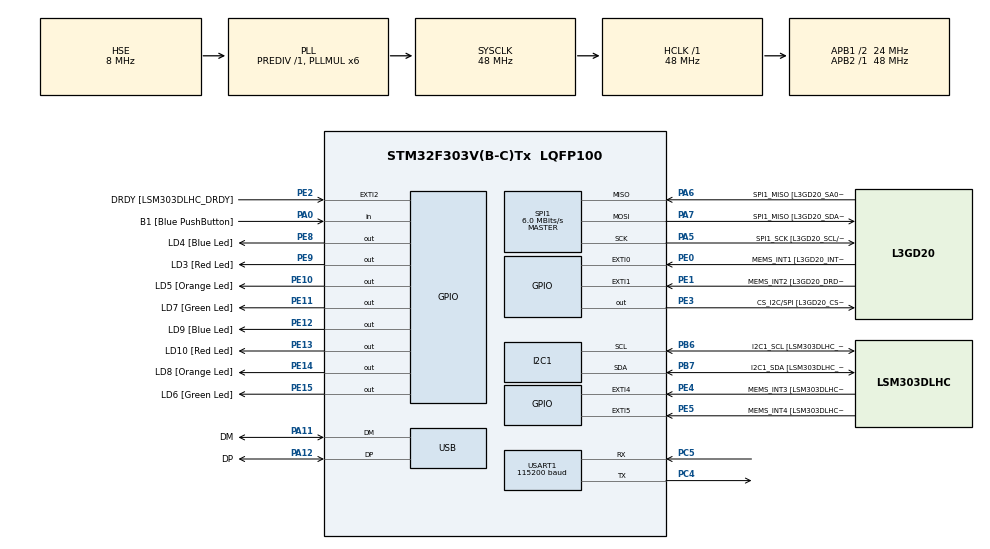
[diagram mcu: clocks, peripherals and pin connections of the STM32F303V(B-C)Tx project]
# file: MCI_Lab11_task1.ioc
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I2C1.Timing=0x00201D2B
I2C1.Timing-I2C=0x2000090E
Mcu.Family=STM32F3
Mcu.Name=STM32F303V(B-C)Tx
Mcu.Package=LQFP100
NVIC.PriorityGroup=NVIC_PRIORITYGROUP_0
PA0.GPIO_Label=B1 [Blue PushButton]
PA0.Signal=GPIO_Input
PA11.GPIO_Label=DM
PA11.Mode=Device
PA11.Signal=USB_DM
PA12.GPIO_Label=DP
PA12.Mode=Device
PA12.Signal=USB_DP
PA13.GPIO_Label=SWDIO
PA13.Mode=Serial_Wire
PA13.Signal=SYS_JTMS-SWDIO
PA14.GPIO_Label=SWCLK
PA14.Mode=Serial_Wire
PA14.Signal=SYS_JTCK-SWCLK
PA5.GPIO_Label=SPI1_SCK [L3GD20_SCL/SPC]
PA5.Mode=Full_Duplex_Master
PA5.Signal=SPI1_SCK
PA6.GPIO_Label=SPI1_MISO [L3GD20_SA0/SDO]
PA6.Mode=Full_Duplex_Master
PA6.Signal=SPI1_MISO
PA7.GPIO_Label=SPI1_MISO [L3GD20_SDA/SDI/SDO]
PA7.Mode=Full_Duplex_Master
PA7.Signal=SPI1_MOSI
PB3.GPIO_Label=SWO
PB3.Signal=SYS_JTDO-TRACESWO
PB6.GPIO_Label=I2C1_SCL [LSM303DLHC_SCL]
PB6.GPIO_Pu=GPIO_PULLUP
PB6.Mode=I2C
PB6.Signal=I2C1_SCL
PB7.GPIO_Label=I2C1_SDA [LSM303DLHC_SDA]
PB7.GPIO_Pu=GPIO_PULLUP
PB7.Mode=I2C
PB7.Signal=I2C1_SDA
PC14-OSC32_IN.GPIO_Label=OSC32_IN
PC14-OSC32_IN.Signal=RCC_OSC32_IN
PC15-OSC32_OUT.GPIO_Label=OSC32_OUT
PC15-OSC32_OUT.Signal=RCC_OSC32_OUT
PC4.Mode=Asynchronous
PC4.Signal=USART1_TX
PC5.Mode=Asynchronous
PC5.Signal=USART1_RX
PE0.GPIO_Label=MEMS_INT1 [L3GD20_INT1]
PE0.GPIO_ModeDefaultEXTI=GPIO_MODE_EVT_RISING
PE0.Signal=GPXTI0
PE1.GPIO_Label=MEMS_INT2 [L3GD20_DRDY/INT2]
PE1.GPIO_ModeDefaultEXTI=GPIO_MODE_EVT_RISING
PE1.Signal=GPXTI1
PE10.GPIO_Label=LD5 [Orange Led]
PE10.Signal=GPIO_Output
PE11.GPIO_Label=LD7 [Green Led]
PE11.Signal=GPIO_Output
PE12.GPIO_Label=LD9 [Blue Led]
PE12.Signal=GPIO_Output
PE13.GPIO_Label=LD10 [Red Led]
PE13.Signal=GPIO_Output
PE14.GPIO_Label=LD8 [Orange Led]
PE14.Signal=GPIO_Output
PE15.GPIO_Label=LD6 [Green Led]
PE15.Signal=GPIO_Output
PE2.GPIO_Label=DRDY [LSM303DLHC_DRDY]
PE2.GPIO_ModeDefaultEXTI=GPIO_MODE_EVT_RISING
PE2.Signal=GPXTI2
PE3.GPIO_Label=CS_I2C/SPI [L3GD20_CS_I2C/SPI]
PE3.Signal=GPIO_Output
PE4.GPIO_Label=MEMS_INT3 [LSM303DLHC_INT1]
PE4.GPIO_ModeDefaultEXTI=GPIO_MODE_EVT_RISING
PE4.Signal=GPXTI4
PE5.GPIO_Label=MEMS_INT4 [LSM303DLHC_INT2]
PE5.GPIO_ModeDefaultEXTI=GPIO_MODE_EVT_RISING
PE5.Signal=GPXTI5
PE8.GPIO_Label=LD4 [Blue Led]
PE8.Signal=GPIO_Output
PE9.GPIO_Label=LD3 [Red Led]
PE9.Signal=GPIO_Output
PF0-OSC_IN.GPIO_Label=OSC_IN
PF0-OSC_IN.Mode=HSE-External-Clock-Source
PF0-OSC_IN.Signal=RCC_OSC_IN
PF1-OSC_OUT.GPIO_Label=OSC_OUT
PF1-OSC_OUT.Signal=RCC_OSC_OUT
ProjectManager.HeapSize=0x200
ProjectManager.StackSize=0x400
ProjectManager.TargetToolchain=CMake
RCC.AHBFreq_Value=48000000
RCC.APB1CLKDivider=RCC_HCLK_DIV2
RCC.APB1Freq_Value=24000000
RCC.APB1TimFreq_Value=48000000
RCC.APB2Freq_Value=48000000
RCC.APB2TimFreq_Value=48000000
RCC.CortexFreq_Value=48000000
RCC.HCLKFreq_Value=48000000
RCC.HSE_VALUE=8000000
RCC.HSI_VALUE=8000000
RCC.LSE_VALUE=32768
RCC.PLLMUL=RCC_PLL_MUL6
RCC.SYSCLKFreq_VALUE=48000000
RCC.SYSCLKSourceVirtual=RCC_SYSCLKSOURCE_PLLCLK
RCC.USBFreq_Value=48000000
SPI1.BaudRatePrescaler=SPI_BAUDRATEPRESCALER_8
SPI1.BaudRatePrescaler-Full_Duplex_Master=SPI_BAUDRATEPRESCALER_2
SPI1.CLKPhase=SPI_PHASE_2EDGE
SPI1.CLKPolarity=SPI_POLARITY_HIGH
SPI1.CalculateBaudRate=6.0 MBits/s
SPI1.CalculateBaudRate-Full_Duplex_Master=24.0 MBits/s
SPI1.Direction=SPI_DIRECTION_2LINES
SPI1.Mode=SPI_MODE_MASTER
SPI1.Mode-Full_Duplex_Master=SPI_MODE_MASTER
SPI1.VirtualType=VM_MASTER
USART1.BaudRate=115200
USART1.VirtualMode-Asynchronous=VM_ASYNC
board=STM32F3DISCOVERY

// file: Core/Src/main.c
/* USER CODE BEGIN Header */
/**
  ******************************************************************************
  * @file           : main.c
  * @brief          : Main program body
  ******************************************************************************
  * @attention
  *
  * Copyright (c) 2026 STMicroelectronics.
  * All rights reserved.
  *
  * This software is licensed under terms that can be found in the LICENSE file
  * in the root directory of this software component.
  * If no LICENSE file comes with this software, it is provided AS-IS.
  *
  ******************************************************************************
  */
/* USER CODE END Header */
#include "main.h"

/* USER CODE BEGIN Includes */
#include <stdio.h>
#include <stdarg.h>
#include <string.h>
#include <math.h>

/* USER CODE END Includes */

/* USER CODE BEGIN PTD */

typedef struct
{
    float acc_g[3];      // acceleration on X, Y, Z in g
    float gyro_dps[3];   // rotation speed on X, Y, Z in deg/s (bias removed)
    float gyro_bias[3];  // what the gyro reads when still (its error)
    float acc_bias[3];   // accelerometer offset measured while flat and still
} IMU_t;

typedef struct
{
    float acc_angle;     // angle from accelerometer only (noisy)
    float gyro_angle;    // angle from gyro only (drifts)
    float angle;         // complementary filter result (the good one)
} Tilt_t;

/* USER CODE END PTD */

/* USER CODE BEGIN PD */
/* Timing: one dt used everywhere */
#define LOOP_MS          10U                    // loop period: 10 ms -> 100 Hz
#define DT               (LOOP_MS / 1000.0f)    // dt in seconds = 0.01
#define PRINT_EVERY      5U                     // print every 5th loop -> 20 Hz

/*Complementary filter */
#define ALPHA            0.98f                  // weight on the gyro
#define RAD_TO_DEG       57.2958f               // 180 / pi

/* Axis selection (confirmed by the axis test) */
#define AXIS_TEST        0      // 1 = print raw axes to find them, 0 = normal run
#define GYRO_AXIS        1       // 0 = X, 1 = Y, 2 = Z  (manual's pseudocode uses Y)
#define GYRO_SIGN        1.0f    // flip to -1.0f if gyro and accel disagree
#define ACC_FWD_AXIS     0       // axis that gains gravity when leaning forward
#define ACC_FWD_SIGN     1.0f
#define ACC_UP_AXIS      2       // axis that reads about 1 g when upright
#define ACC_UP_SIGN      1.0f

/* LSM303AGR accelerometer (I2C1) */
#define ACC_ADDR         (0x19 << 1)  // 7-bit 0x19 -> 0x32 for HAL
#define WHO_AM_I_A       0x0F
#define ACC_ID           0x33
#define CTRL_REG1_A      0x20
#define CTRL_REG1_A_VAL  0x67         // 200 Hz, X/Y/Z on
#define CTRL_REG4_A      0x23
#define CTRL_REG4_A_VAL  0x80         // block data update, +/-2 g
#define OUT_X_L_A        0x28         // first of 6 data registers
#define I2C_AUTO_INC     0x80         // read registers one after another
#define I2C_TIMEOUT_MS   10U
#define ACC_G_PER_LSB    (0.0039f / 64.0f)

/*I3G4250D gyroscope (SPI1)*/
#define WHO_AM_I_G       0x0F
#define GYRO_ID_BLUE     0xD3         // I3G4250D
#define GYRO_ID_GREEN    0xD4         // green board
#define CTRL_REG1_G      0x20
#define CTRL_REG1_G_VAL  0x5F         // 200 Hz, power on, X/Y/Z on
#define CTRL_REG4_G      0x23
#define CTRL_REG4_G_VAL  0x10         // +/-500 deg/s
#define OUT_X_L_G        0x28
#define SPI_READ_FLAG    0x80         // bit 7 = 1 means read
#define SPI_AUTO_INC     0x40         // bit 6 = 1 means auto-increment
#define GYRO_DPS_PER_LSB 0.0175f      // 17.5 mdps per count at +/-500
/* Calibration: board must be flat and still */
#define CAL_SAMPLES      500          // samples averaged for the offsets
#define CAL_DELAY_MS     5U           // gap between samples (sensors run at 200 Hz)
/* USER CODE END PD */

I2C_HandleTypeDef hi2c1;

SPI_HandleTypeDef hspi1;

UART_HandleTypeDef huart1;

PCD_HandleTypeDef hpcd_USB_FS;

/* USER CODE BEGIN PV */
IMU_t  imu;    // latest sensor readings
Tilt_t tilt;   // current angles
/* USER CODE END PV */

void SystemClock_Config(void);
static void MX_GPIO_Init(void);
static void MX_I2C1_Init(void);
static void MX_SPI1_Init(void);
static void MX_USB_PCD_Init(void);
static void MX_USART1_UART_Init(void);

/* USER CODE BEGIN 0 */
void myPrintf(const char *fmt, ...)
{
    char buffer[1000];
    va_list args;
    va_start(args, fmt);
    vsnprintf(buffer, sizeof(buffer), fmt, args);   // build the text
    va_end(args);
    HAL_UART_Transmit(&huart1, (uint8_t *)buffer, strlen(buffer), HAL_MAX_DELAY);
}
// Accelerometer read function:I2C
static HAL_StatusTypeDef acc_write_reg(uint8_t reg, uint8_t value)
{
    return HAL_I2C_Mem_Write(&hi2c1, ACC_ADDR, reg, I2C_MEMADD_SIZE_8BIT,
                             &value, 1, I2C_TIMEOUT_MS);
}

static HAL_StatusTypeDef acc_read_regs(uint8_t start_reg, uint8_t *buf, uint16_t len)
{
    if (len > 1)
    {
        start_reg |= I2C_AUTO_INC;   // 0x28 -> 0xA8: read 0x28, 0x29, ... in one go
    }
    return HAL_I2C_Mem_Read(&hi2c1, ACC_ADDR, start_reg, I2C_MEMADD_SIZE_8BIT,
                            buf, len, I2C_TIMEOUT_MS);
}

/* Gyroscope: SPI */
static void gyro_cs_low(void)
{
    HAL_GPIO_WritePin(CS_I2C_SPI_GPIO_Port, CS_I2C_SPI_Pin, GPIO_PIN_RESET);
}

static void gyro_cs_high(void)
{
    HAL_GPIO_WritePin(CS_I2C_SPI_GPIO_Port, CS_I2C_SPI_Pin, GPIO_PIN_SET);
}

static void gyro_write_reg(uint8_t reg, uint8_t value)
{
    uint8_t tx[2] = { reg, value };      // bit 7 = 0 -> write

    gyro_cs_low();
    HAL_SPI_Transmit(&hspi1, tx, 2, HAL_MAX_DELAY);
    gyro_cs_high();
}

static uint8_t gyro_read_reg(uint8_t reg)
{
    uint8_t cmd  = SPI_READ_FLAG | reg;  // bit 7 = 1 -> read
    uint8_t data = 0;

    gyro_cs_low();
    HAL_SPI_Transmit(&hspi1, &cmd, 1, HAL_MAX_DELAY);
    HAL_SPI_Receive(&hspi1, &data, 1, HAL_MAX_DELAY);
    gyro_cs_high();
    return data;
}

static void gyro_read_regs(uint8_t start_reg, uint8_t *buf, uint16_t len)
{
    uint8_t cmd = SPI_READ_FLAG | SPI_AUTO_INC | start_reg;   // 0x28 -> 0xE8

    gyro_cs_low();
    HAL_SPI_Transmit(&hspi1, &cmd, 1, HAL_MAX_DELAY);
    HAL_SPI_Receive(&hspi1, buf, len, HAL_MAX_DELAY);
    gyro_cs_high();
}

/* Combine a low and high byte into one signed 16-bit number */
static int16_t to_int16(uint8_t low, uint8_t high)
{
    return (int16_t)((high << 8) | low);
}

/*IMU Layer*/
/* Check both sensors answer, then switch them on */
HAL_StatusTypeDef IMU_Init(void)
{
    uint8_t acc_id  = 0;
    uint8_t gyro_id = 0;

    acc_read_regs(WHO_AM_I_A, &acc_id, 1);
    gyro_id = gyro_read_reg(WHO_AM_I_G);

    uint8_t acc_ok  = (acc_id == ACC_ID);
    uint8_t gyro_ok = (gyro_id == GYRO_ID_BLUE) || (gyro_id == GYRO_ID_GREEN);

    myPrintf("Accel WHO_AM_I = 0x%02X (%s)\r\n", acc_id,  acc_ok  ? "OK" : "MISMATCH");
    myPrintf("Gyro  WHO_AM_I = 0x%02X (%s)\r\n", gyro_id, gyro_ok ? "OK" : "MISMATCH");

    acc_write_reg(CTRL_REG1_A, CTRL_REG1_A_VAL);   // accel on, 200 Hz
    acc_write_reg(CTRL_REG4_A, CTRL_REG4_A_VAL);   // +/-2 g
    gyro_write_reg(CTRL_REG1_G, CTRL_REG1_G_VAL);  // gyro on, 200 Hz
    gyro_write_reg(CTRL_REG4_G, CTRL_REG4_G_VAL);  // +/-500 deg/s

    HAL_Delay(100);   // give the sensors time to produce first samples
    return (acc_ok && gyro_ok) ? HAL_OK : HAL_ERROR;
}

/* Read both sensors and convert to g and deg/s */
void IMU_Read(IMU_t *d)
{
    uint8_t buf[6];

    if (acc_read_regs(OUT_X_L_A, buf, 6) == HAL_OK)   // FIX: actually read the accelerometer
    {
        for (int i = 0; i < 3; i++)
        {
            d->acc_g[i] = to_int16(buf[2 * i], buf[2 * i + 1]) * ACC_G_PER_LSB
                          - d->acc_bias[i];
        }
    }

    gyro_read_regs(OUT_X_L_G, buf, 6);
    for (int i = 0; i < 3; i++)
    {
        d->gyro_dps[i] = to_int16(buf[2 * i], buf[2 * i + 1]) * GYRO_DPS_PER_LSB
                         - d->gyro_bias[i];
    }
}

/* Offset calibration: take CAL_SAMPLES readings while the board is flat
   and still, find the mean of each axis, and store it as the offset.
   Flat and still means:
     gyro X, Y, Z should read 0 deg/s  -> offset = mean
     acc  X, Y    should read 0 g      -> offset = mean
     acc  Z       should read 1 g      -> offset = mean - 1 g (keep gravity) */
void IMU_Calibrate(IMU_t *d)
{
    float gyro_sum[3] = { 0.0f, 0.0f, 0.0f };
    float acc_sum[3]  = { 0.0f, 0.0f, 0.0f };

    for (int i = 0; i < 3; i++)
    {
        d->gyro_bias[i] = 0.0f;   // clear old offsets so we measure raw values
        d->acc_bias[i]  = 0.0f;
    }

    for (int n = 0; n < CAL_SAMPLES; n++)
    {
        IMU_Read(d);
        for (int i = 0; i < 3; i++)
        {
            gyro_sum[i] += d->gyro_dps[i];
            acc_sum[i]  += d->acc_g[i];
        }
        HAL_Delay(CAL_DELAY_MS);   // wait for the next sample
    }

    for (int i = 0; i < 3; i++)
    {
        d->gyro_bias[i] = gyro_sum[i] / CAL_SAMPLES;   // mean = offset
        d->acc_bias[i]  = acc_sum[i]  / CAL_SAMPLES;
    }
    d->acc_bias[ACC_UP_AXIS] -= ACC_UP_SIGN * 1.0f;   // up axis must still read 1 g

    myPrintf("Gyro offset = %.3f, %.3f, %.3f deg/s\r\n",
             d->gyro_bias[0], d->gyro_bias[1], d->gyro_bias[2]);
    myPrintf("Acc  offset = %.3f, %.3f, %.3f g\r\n",
             d->acc_bias[0], d->acc_bias[1], d->acc_bias[2]);
}

/*Tilt Layer: complementary filter */
float Tilt_AccAngle(const IMU_t *d)
{
    float acc_fwd = ACC_FWD_SIGN * d->acc_g[ACC_FWD_AXIS];
    float acc_up  = ACC_UP_SIGN  * d->acc_g[ACC_UP_AXIS];

    return atan2f(acc_fwd, acc_up) * RAD_TO_DEG;   // forward lean = positive angle
}
void Tilt_Init(Tilt_t *t, IMU_t *d)
{
    t->acc_angle = Tilt_AccAngle(d);
    t->gyro_angle = t->acc_angle;
    t->angle      = t->acc_angle;
}

void Tilt_Update(Tilt_t *t, const IMU_t *d)
{
    t->acc_angle = Tilt_AccAngle(d);
    t->gyro_angle += GYRO_SIGN * d->gyro_dps[GYRO_AXIS] * DT;
    t->angle = ALPHA * (t->angle + GYRO_SIGN * d->gyro_dps[GYRO_AXIS] * DT)
               + (1.0f - ALPHA) * t->acc_angle;
}

/* Output */
#define PLOT_MODE  1   // 1 = plain CSV for plot.py, 0 = labelled text for screen

void Print_Angles(const Tilt_t *t)
{
    const char axis_name[3] = { 'X', 'Y', 'Z' };

#if PLOT_MODE
    /* CSV for plot.py: acc_angle,gyro_angle,filtered_angle */
    myPrintf("%.2f,%.2f,%.2f\r\n", t->acc_angle, t->gyro_angle, t->angle);
#else
    /* Readable: shows which axes each angle comes from */
    myPrintf("Acc(%c,%c) = %7.2f deg, Gyro %c = %7.2f deg, Filtered = %7.2f deg\r\n",
             axis_name[ACC_FWD_AXIS], axis_name[ACC_UP_AXIS], t->acc_angle,
             axis_name[GYRO_AXIS], t->gyro_angle,
             t->angle);
#endif
}

/* Axis test: print only the axes used for the tilt angle */
void Print_Axes_Raw(const IMU_t *d)
{
    const char axis_name[3] = { 'X', 'Y', 'Z' };

    myPrintf("Acc %c = %6.2f g, Acc %c = %6.2f g, Gyro %c = %7.2f deg/s\r\n",
             axis_name[ACC_FWD_AXIS], ACC_FWD_SIGN * d->acc_g[ACC_FWD_AXIS],
             axis_name[ACC_UP_AXIS],  ACC_UP_SIGN  * d->acc_g[ACC_UP_AXIS],
             axis_name[GYRO_AXIS],    GYRO_SIGN    * d->gyro_dps[GYRO_AXIS]);
}
/* USER CODE END 0 */

int main(void)
{

  /* MCU Configuration--------------------------------------------------------*/

  /* Reset of all peripherals, Initializes the Flash interface and the Systick. */
  HAL_Init();

  /* Configure the system clock */
  SystemClock_Config();

  /* Initialize all configured peripherals */
  MX_GPIO_Init();
  MX_I2C1_Init();
  MX_SPI1_Init();
  MX_USB_PCD_Init();
  MX_USART1_UART_Init();
  /* USER CODE BEGIN 2 */

  myPrintf("\r\nLab 11 Task 1: tilt angle with a complementary filter\r\n");

  if (IMU_Init() != HAL_OK)
  {
      myPrintf("Sensor ID check failed\r\n");
  }

  myPrintf("Calibrating: keep the board flat and still...\r\n");
  memset(&imu, 0, sizeof(imu));   // start with zero offsets
  IMU_Calibrate(&imu);
  myPrintf("Calibration done\r\n");

  IMU_Read(&imu);          // first reading
  Tilt_Init(&tilt, &imu);  // start the angles from it

  uint32_t last_tick   = HAL_GetTick();   // time of the last update (ms)
  uint32_t print_count = 0;               // counts loops between prints
  /* USER CODE END 2 */

  /* Infinite loop */
  while (1)
  {

    /* USER CODE BEGIN 3 */
    while ((HAL_GetTick() - last_tick) < LOOP_MS)
    {
        // wait for the next loop
    }
    last_tick += LOOP_MS;
    IMU_Read(&imu);
    Tilt_Update(&tilt, &imu);
    if (++print_count >= PRINT_EVERY)
    {
        print_count = 0;
        if (AXIS_TEST)
        {
            Print_Axes_Raw(&imu);
        }
        else
        {
            Print_Angles(&tilt);
        }
    }
  }
  /* USER CODE END 3 */
}

void SystemClock_Config(void)
{
  RCC_OscInitTypeDef RCC_OscInitStruct = {0};
  RCC_ClkInitTypeDef RCC_ClkInitStruct = {0};
  RCC_PeriphCLKInitTypeDef PeriphClkInit = {0};

  /** Initializes the RCC Oscillators according to the specified parameters
  * in the RCC_OscInitTypeDef structure.
  */
  RCC_OscInitStruct.OscillatorType = RCC_OSCILLATORTYPE_HSI|RCC_OSCILLATORTYPE_HSE;
  RCC_OscInitStruct.HSEState = RCC_HSE_BYPASS;
  RCC_OscInitStruct.HSEPredivValue = RCC_HSE_PREDIV_DIV1;
  RCC_OscInitStruct.HSIState = RCC_HSI_ON;
  RCC_OscInitStruct.HSICalibrationValue = RCC_HSICALIBRATION_DEFAULT;
  RCC_OscInitStruct.PLL.PLLState = RCC_PLL_ON;
  RCC_OscInitStruct.PLL.PLLSource = RCC_PLLSOURCE_HSE;
  RCC_OscInitStruct.PLL.PLLMUL = RCC_PLL_MUL6;
  if (HAL_RCC_OscConfig(&RCC_OscInitStruct) != HAL_OK)
  {
    Error_Handler();
  }

  /** Initializes the CPU, AHB and APB buses clocks
  */
  RCC_ClkInitStruct.ClockType = RCC_CLOCKTYPE_HCLK|RCC_CLOCKTYPE_SYSCLK
                              |RCC_CLOCKTYPE_PCLK1|RCC_CLOCKTYPE_PCLK2;
  RCC_ClkInitStruct.SYSCLKSource = RCC_SYSCLKSOURCE_PLLCLK;
  RCC_ClkInitStruct.AHBCLKDivider = RCC_SYSCLK_DIV1;
  RCC_ClkInitStruct.APB1CLKDivider = RCC_HCLK_DIV2;
  RCC_ClkInitStruct.APB2CLKDivider = RCC_HCLK_DIV1;

  if (HAL_RCC_ClockConfig(&RCC_ClkInitStruct, FLASH_LATENCY_1) != HAL_OK)
  {
    Error_Handler();
  }
  PeriphClkInit.PeriphClockSelection = RCC_PERIPHCLK_USB|RCC_PERIPHCLK_USART1
                              |RCC_PERIPHCLK_I2C1;
  PeriphClkInit.Usart1ClockSelection = RCC_USART1CLKSOURCE_PCLK2;
  PeriphClkInit.I2c1ClockSelection = RCC_I2C1CLKSOURCE_HSI;
  PeriphClkInit.USBClockSelection = RCC_USBCLKSOURCE_PLL;
  if (HAL_RCCEx_PeriphCLKConfig(&PeriphClkInit) != HAL_OK)
  {
    Error_Handler();
  }
}

static void MX_I2C1_Init(void)
{

  hi2c1.Instance = I2C1;
  hi2c1.Init.Timing = 0x00201D2B;
  hi2c1.Init.OwnAddress1 = 0;
  hi2c1.Init.AddressingMode = I2C_ADDRESSINGMODE_7BIT;
  hi2c1.Init.DualAddressMode = I2C_DUALADDRESS_DISABLE;
  hi2c1.Init.OwnAddress2 = 0;
  hi2c1.Init.OwnAddress2Masks = I2C_OA2_NOMASK;
  hi2c1.Init.GeneralCallMode = I2C_GENERALCALL_DISABLE;
  hi2c1.Init.NoStretchMode = I2C_NOSTRETCH_DISABLE;
  if (HAL_I2C_Init(&hi2c1) != HAL_OK)
  {
    Error_Handler();
  }

  /** Configure Analogue filter
  */
  if (HAL_I2CEx_ConfigAnalogFilter(&hi2c1, I2C_ANALOGFILTER_ENABLE) != HAL_OK)
  {
    Error_Handler();
  }

  /** Configure Digital filter
  */
  if (HAL_I2CEx_ConfigDigitalFilter(&hi2c1, 0) != HAL_OK)
  {
    Error_Handler();
  }

}

static void MX_SPI1_Init(void)
{

  /* SPI1 parameter configuration*/
  hspi1.Instance = SPI1;
  hspi1.Init.Mode = SPI_MODE_MASTER;
  hspi1.Init.Direction = SPI_DIRECTION_2LINES;
  hspi1.Init.DataSize = SPI_DATASIZE_8BIT;
  hspi1.Init.CLKPolarity = SPI_POLARITY_HIGH;
  hspi1.Init.CLKPhase = SPI_PHASE_2EDGE;
  hspi1.Init.NSS = SPI_NSS_SOFT;
  hspi1.Init.BaudRatePrescaler = SPI_BAUDRATEPRESCALER_8;
  hspi1.Init.FirstBit = SPI_FIRSTBIT_MSB;
  hspi1.Init.TIMode = SPI_TIMODE_DISABLE;
  hspi1.Init.CRCCalculation = SPI_CRCCALCULATION_DISABLE;
  hspi1.Init.CRCPolynomial = 7;
  hspi1.Init.CRCLength = SPI_CRC_LENGTH_DATASIZE;
  hspi1.Init.NSSPMode = SPI_NSS_PULSE_DISABLE;
  if (HAL_SPI_Init(&hspi1) != HAL_OK)
  {
    Error_Handler();
  }
  /* USER CODE BEGIN SPI1_Init 2 */
  __HAL_SPI_ENABLE(&hspi1);
  /* USER CODE END SPI1_Init 2 */

}

static void MX_USART1_UART_Init(void)
{

  huart1.Instance = USART1;
  huart1.Init.BaudRate = 115200;
  huart1.Init.WordLength = UART_WORDLENGTH_8B;
  huart1.Init.StopBits = UART_STOPBITS_1;
  huart1.Init.Parity = UART_PARITY_NONE;
  huart1.Init.Mode = UART_MODE_TX_RX;
  huart1.Init.HwFlowCtl = UART_HWCONTROL_NONE;
  huart1.Init.OverSampling = UART_OVERSAMPLING_16;
  huart1.Init.OneBitSampling = UART_ONE_BIT_SAMPLE_DISABLE;
  huart1.AdvancedInit.AdvFeatureInit = UART_ADVFEATURE_NO_INIT;
  if (HAL_UART_Init(&huart1) != HAL_OK)
  {
    Error_Handler();
  }

}

static void MX_USB_PCD_Init(void)
{

  hpcd_USB_FS.Instance = USB;
  hpcd_USB_FS.Init.dev_endpoints = 8;
  hpcd_USB_FS.Init.speed = PCD_SPEED_FULL;
  hpcd_USB_FS.Init.phy_itface = PCD_PHY_EMBEDDED;
  hpcd_USB_FS.Init.low_power_enable = DISABLE;
  hpcd_USB_FS.Init.battery_charging_enable = DISABLE;
  if (HAL_PCD_Init(&hpcd_USB_FS) != HAL_OK)
  {
    Error_Handler();
  }

}

static void MX_GPIO_Init(void)
{
  GPIO_InitTypeDef GPIO_InitStruct = {0};

  /* GPIO Ports Clock Enable */
  __HAL_RCC_GPIOE_CLK_ENABLE();
  __HAL_RCC_GPIOC_CLK_ENABLE();
  __HAL_RCC_GPIOF_CLK_ENABLE();
  __HAL_RCC_GPIOA_CLK_ENABLE();
  __HAL_RCC_GPIOB_CLK_ENABLE();

  /*Configure GPIO pin Output Level */
  HAL_GPIO_WritePin(GPIOE, CS_I2C_SPI_Pin|LD4_Pin|LD3_Pin|LD5_Pin
                          |LD7_Pin|LD9_Pin|LD10_Pin|LD8_Pin
                          |LD6_Pin, GPIO_PIN_RESET);

  /*Configure GPIO pins : DRDY_Pin MEMS_INT3_Pin MEMS_INT4_Pin MEMS_INT1_Pin
                           MEMS_INT2_Pin */
  GPIO_InitStruct.Pin = DRDY_Pin|MEMS_INT3_Pin|MEMS_INT4_Pin|MEMS_INT1_Pin
                          |MEMS_INT2_Pin;
  GPIO_InitStruct.Mode = GPIO_MODE_EVT_RISING;
  GPIO_InitStruct.Pull = GPIO_NOPULL;
  HAL_GPIO_Init(GPIOE, &GPIO_InitStruct);

  /*Configure GPIO pins : CS_I2C_SPI_Pin LD4_Pin LD3_Pin LD5_Pin
                           LD7_Pin LD9_Pin LD10_Pin LD8_Pin
                           LD6_Pin */
  GPIO_InitStruct.Pin = CS_I2C_SPI_Pin|LD4_Pin|LD3_Pin|LD5_Pin
                          |LD7_Pin|LD9_Pin|LD10_Pin|LD8_Pin
                          |LD6_Pin;
  GPIO_InitStruct.Mode = GPIO_MODE_OUTPUT_PP;
  GPIO_InitStruct.Pull = GPIO_NOPULL;
  GPIO_InitStruct.Speed = GPIO_SPEED_FREQ_LOW;
  HAL_GPIO_Init(GPIOE, &GPIO_InitStruct);

  /*Configure GPIO pin : B1_Pin */
  GPIO_InitStruct.Pin = B1_Pin;
  GPIO_InitStruct.Mode = GPIO_MODE_INPUT;
  GPIO_InitStruct.Pull = GPIO_NOPULL;
  HAL_GPIO_Init(B1_GPIO_Port, &GPIO_InitStruct);

  /* USER CODE BEGIN MX_GPIO_Init_2 */
  /* Gyro chip select idles HIGH (not selected) until we talk to it */
  HAL_GPIO_WritePin(CS_I2C_SPI_GPIO_Port, CS_I2C_SPI_Pin, GPIO_PIN_SET);

  /* USER CODE END MX_GPIO_Init_2 */
}

void Error_Handler(void)
{
  __disable_irq();
  while (1)
  {
  }
}
